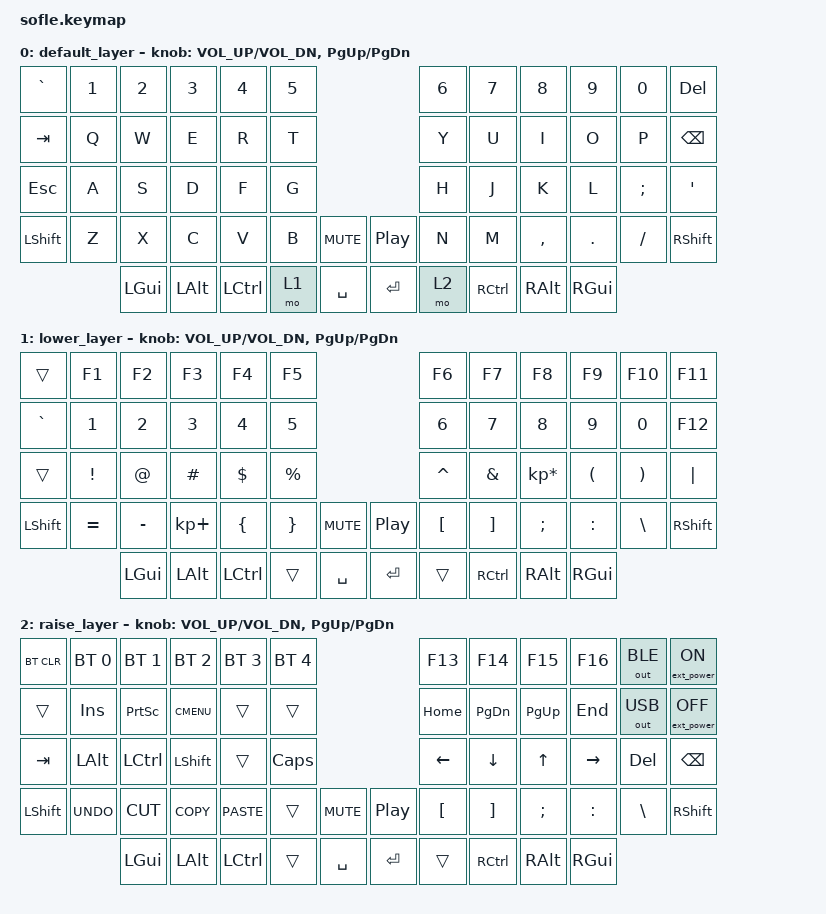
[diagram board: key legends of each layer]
/*
 * Copyright (c) 2020 The ZMK Contributors
 *
 * SPDX-License-Identifier: MIT
 */

#include <behaviors.dtsi>
#include <dt-bindings/zmk/keys.h>
#include <dt-bindings/zmk/bt.h>
#include <dt-bindings/zmk/ext_power.h>
#include <dt-bindings/zmk/outputs.h>

/ {
    keymap {
        compatible = "zmk,keymap";

        default_layer {
// ------------------------------------------------------------------------------------------------------------
// |  `    |  1  |  2  |  3   |  4   |  5   |                   |  6   |  7    |  8    |  9   |   0   |  DEL  |
// |  TAB  |  Q  |  W  |  E   |  R   |  T   |                   |  Y   |  U    |  I    |  O   |   P   | BKSPC |
// |  ESC  |  A  |  S  |  D   |  F   |  G   |                   |  H   |  J    |  K    |  L   |   ;   |   '   |
// | SHIFT |  Z  |  X  |  C   |  V   |  B   |  MUTE  |  | PLAY |  N   |  M    |  ,    |  .   |   /   | SHIFT |
//               | GUI |  ALT | CTRL | LOWER|  SPACE |  | ENTER | RAISE| CTRL  | ALT   | GUI  |
            bindings = <
&kp GRAVE &kp N1 &kp N2   &kp N3   &kp N4    &kp N5                       &kp N6 &kp N7    &kp N8    &kp N9   &kp N0   &kp DEL
&kp TAB   &kp Q  &kp W    &kp E    &kp R     &kp T                        &kp Y  &kp U     &kp I     &kp O    &kp P    &kp BSPC
&kp ESC   &kp A  &kp S    &kp D    &kp F     &kp G                        &kp H  &kp J     &kp K     &kp L    &kp SEMI &kp SQT
&kp LSHFT &kp Z  &kp X    &kp C    &kp V     &kp B  &kp C_MUTE   &kp C_PP &kp N  &kp M     &kp COMMA &kp DOT  &kp FSLH &kp RSHFT
                 &kp LGUI &kp LALT &kp LCTRL &mo 1  &kp SPACE    &kp RET  &mo 2  &kp RCTRL &kp RALT  &kp RGUI
            >;

            sensor-bindings = <&inc_dec_kp C_VOL_UP C_VOL_DN &inc_dec_kp PG_UP PG_DN>;
        };

        lower_layer {
// TODO: Some binds are waiting for shifted keycode support.
// ------------------------------------------------------------------------------------------------------------
// |       |  F1 |  F2 |  F3  |  F4  |  F5  |                   |  F6  |  F7   |  F8   |  F9  |  F10  |  F11  |
// | `     |   1 |   2 |   3  |   4  |   5  |                   |   6  |   7   |   8   |   9  |    0  |  F12  |
// |       |  !  |  @  |  #   |  $   |  %   |                   |  ^   |  &    |  *    |  (   |   )   |   |   |
// | SHIFT |  =  |  -  |  +   |  {   |  }   |   MUTE |  |  PLAY |  [   |  ]    |  ;    |  :   |   \   | SHIFT |
//               | GUI | ALT  | CTRL |      |  SPACE |  | ENTER |      | CTRL  | ALT   | GUI  |
            bindings = <
&trans    &kp F1    &kp F2    &kp F3      &kp F4    &kp F5                          &kp F6    &kp F7    &kp F8          &kp F9    &kp F10   &kp F11
&kp GRAVE &kp N1    &kp N2    &kp N3      &kp N4    &kp N5                          &kp N6    &kp N7    &kp N8          &kp N9    &kp N0    &kp F12
&trans    &kp EXCL  &kp AT    &kp HASH    &kp DLLR  &kp PRCNT                       &kp CARET &kp AMPS  &kp KP_MULTIPLY &kp LPAR  &kp RPAR  &kp PIPE
&kp LSHFT &kp EQUAL &kp MINUS &kp KP_PLUS &kp LBRC  &kp RBRC   &kp C_MUTE &kp C_PP  &kp LBKT  &kp RBKT  &kp SEMI        &kp COLON &kp BSLH  &kp RSHFT
                    &kp LGUI  &kp LALT    &kp LCTRL &trans     &kp SPACE  &kp RET   &trans    &kp RCTRL &kp RALT        &kp RGUI
            >;

            sensor-bindings = <&inc_dec_kp C_VOL_UP C_VOL_DN &inc_dec_kp PG_UP PG_DN>;
        };

        raise_layer {
// ------------------------------------------------------------------------------------------------------------
// | BTCLR | BT1  | BT2  |  BT3  |  BT4  |  BT5   |                   |  F13 |  F14 |  F15  |  F16  |  BLE  | EPON  |
// |       | INS  | PSCR | GUI   |       |        |                   | HOME | PGDN |  PGUP |  END  |  USB  | EPOFF |
// |  TAB  | ALT  | CTRL | SHIFT |       |  CAPS  |                   |  <-  |   v  |   ^   |  ->   |  DEL  | BKSPC |
// | SHIFT | UNDO | CUT  | COPY  | PASTE |        |  MUTE  |  |  PLAY |   [  |   ]  |   ;   |   :   |   \   | SHIFT |
//                | GUI  |  ALT  |  CTRL |        |  SPACE |  | ENTER |      | CTRL |  ALT  |  GUI  |
            bindings = <
&bt BT_CLR &bt BT_SEL 0 &bt BT_SEL 1 &bt BT_SEL 2 &bt BT_SEL 3 &bt BT_SEL 4                     &kp F13   &kp F14    &kp F15     &kp F16     &out OUT_BLE   &ext_power EP_ON
&trans     &kp INS      &kp PSCRN    &kp K_CMENU  &trans       &trans                           &kp HOME  &kp PG_DN  &kp PG_UP   &kp END     &out OUT_USB   &ext_power EP_OFF
&kp TAB    &kp LALT     &kp LCTRL    &kp LSHFT    &trans       &kp CLCK                         &kp LEFT  &kp DOWN   &kp UP      &kp RIGHT   &kp DEL        &kp BSPC
&kp LSHFT  &kp K_UNDO   &kp K_CUT    &kp K_COPY   &kp K_PASTE  &trans      &kp C_MUTE  &kp C_PP &kp LBKT  &kp RBKT   &kp SEMI    &kp COLON   &kp BSLH       &kp RSHFT
                        &kp LGUI     &kp LALT     &kp LCTRL    &trans      &kp SPACE   &kp RET  &trans    &kp RCTRL  &kp RALT    &kp RGUI           
            >;

            sensor-bindings = <&inc_dec_kp C_VOL_UP C_VOL_DN &inc_dec_kp PG_UP PG_DN>;
        };
    };
};
